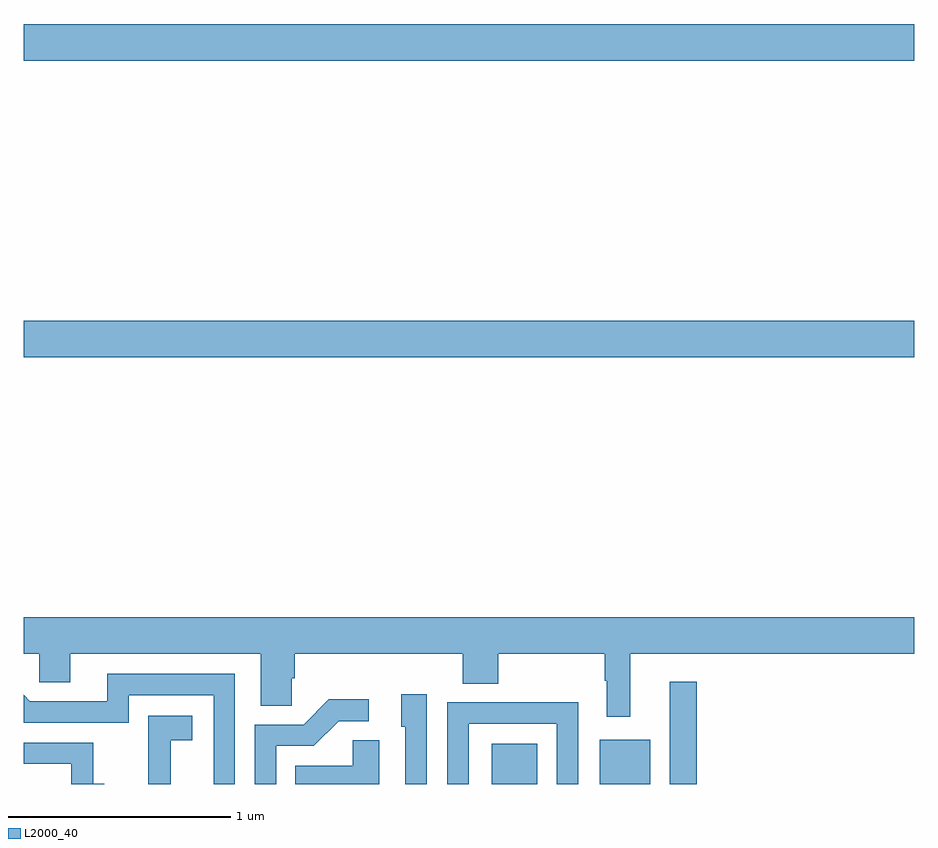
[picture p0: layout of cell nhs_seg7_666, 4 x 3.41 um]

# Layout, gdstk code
import gdstk
lib = gdstk.Library(unit=1e-6, precision=1e-09)
def R(c, l, rs):  # rectangles x0, y0, x1, y1
    for r in rs: c.add(gdstk.rectangle(r[:2], r[2:], *l))
def P(c, l, *ps):  # polygons
    for p in ps: c.add(gdstk.Polygon(p, *l))
L2000_40 = (2000, 40)

nhs_seg7_666 = lib.new_cell('nhs_seg7_666')
R(nhs_seg7_666, L2000_40, [(163.103,1032,163.306,1032.181), (163.586,1032,163.813,1032.199), (163.901,1032,164.023,1032.46), (161,1033.916,165,1034.08), (161,1035.248,165,1035.412)])
P(nhs_seg7_666, L2000_40, [(163.723,1032.584),(165,1032.584),(165,1032.748),(161,1032.748),(161,1032.584),(161.07,1032.584),(161.07,1032.457),(161.209,1032.457),(161.209,1032.584),(162.065,1032.584),(162.065,1032.352),(162.204,1032.352),(162.204,1032.475),(162.218,1032.475),(162.218,1032.584),(162.971,1032.584),(162.971,1032.451),(163.131,1032.451),(163.131,1032.584),(163.609,1032.584),(163.609,1032.463),(163.619,1032.463),(163.619,1032.303),(163.723,1032.303)],
  [(161.949,1032.495),(161.375,1032.495),(161.375,1032.372),(161.028,1032.372),(161,1032.4),(161,1032.276),(161.472,1032.276),(161.472,1032.399),(161.853,1032.399),(161.853,1032),(161.949,1032)],
  [(162.81,1032.403),(162.695,1032.403),(162.695,1032.258),(162.714,1032.258),(162.714,1032),(162.81,1032)],
  [(162.135,1032.171),(162.304,1032.171),(162.415,1032.282),(162.55,1032.282),(162.55,1032.38),(162.371,1032.38),(162.258,1032.267),(162.039,1032.267),(162.039,1032),(162.135,1032)],
  [(162.999,1032.27),(163.395,1032.27),(163.395,1032),(163.491,1032),(163.491,1032.368),(163.219,1032.368),(163.219,1032.366),(162.903,1032.366),(162.903,1032),(162.999,1032)],
  [(161.66,1032.197),(161.758,1032.197),(161.758,1032.307),(161.56,1032.307),(161.56,1032.101),(161.561,1032.101),(161.561,1032),(161.66,1032)],
  [(162.598,1032.197),(162.477,1032.197),(162.477,1032.082),(162.22,1032.082),(162.22,1032),(162.598,1032)],
  [(161.362,1032.001),(161.313,1032.001),(161.313,1032.186),(161,1032.186),(161,1032.09),(161.214,1032.09),(161.214,1032),(161.362,1032)])

lib.write_gds('nhs_seg7_666.gds')
